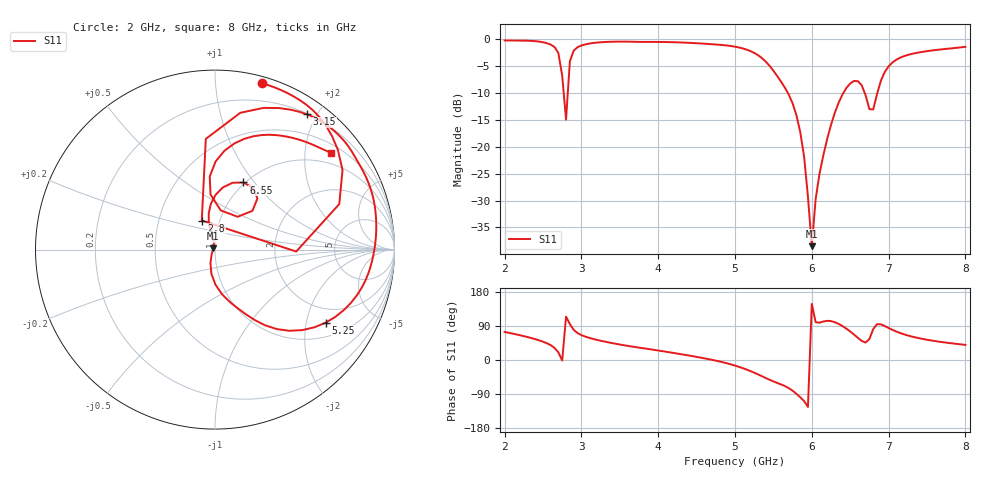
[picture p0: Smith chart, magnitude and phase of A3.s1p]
! Generated by Hertzon (EMerge FEM)
# HZ S RI R 50
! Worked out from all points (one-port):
!   121 points, 2 GHz to 8 GHz, reference 50 ohm
!   lowest |S11| = -38.5 dB at 6 GHz (marker M1), VSWR 1.02, Z = 49 + j0.62 ohm
!   |S11| at or under -10 dB: 2.769 GHz to 2.823 GHz (53.86 MHz wide, 1.93 % of centre); 5.686 GHz to 6.414 GHz (728.1 MHz wide, 12 % of centre); 6.687 GHz to 6.855 GHz (167.2 MHz wide, 2.47 % of centre)
!   S11 on the Smith chart (normalised r, x): 2 GHz: 0.05, +1.32; 2.8 GHz: 0.82, +0.27; 3.15 GHz: 0.21, +1.87; 5.25 GHz: 1.45, -2.60; 6.55 GHz: 0.98, +0.88; 8 GHz: 0.71, +2.59
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2e9  0.2635 0.9266
2.35e9  0.5079 0.8079
2.55e9  0.6513 0.6336
2.7e9  0.6924 0.2536
2.75e9  0.4525 -0.0107
2.8e9  -0.0737 0.1619
2.85e9  -0.0512 0.617
2.95e9  0.2706 0.7896
3.15e9  0.513 0.7535
3.5e9  0.7103 0.6157
4.25e9  0.8854 0.2692
5e9  0.8157 -0.2153
5.25e9  0.6163 -0.4072
5.45e9  0.344 -0.4428
5.75e9  0.0391 -0.2487
5.9e9  -0.0254 -0.0761
6e9  -0.0101 0.00632
6.05e9  -0.00556 0.0321
6.2e9  -0.027 0.1141
6.35e9  -0.0232 0.2545
6.5e9  0.0976 0.3724
6.55e9  0.158 0.374
6.65e9  0.2364 0.2843
6.75e9  0.1264 0.1829
6.8e9  0.0317 0.2185
6.95e9  0.00343 0.4911
7.25e9  0.3016 0.6397
8e9  0.6453 0.5384
